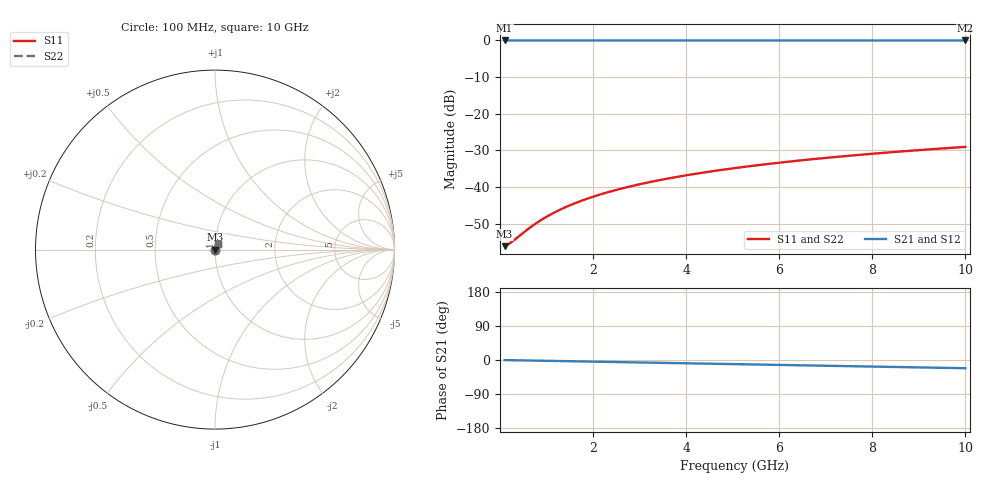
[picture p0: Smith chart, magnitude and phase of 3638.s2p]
# Hz S RI R 50.00
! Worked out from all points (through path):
!   100 points, 100 MHz to 10 GHz, reference 50 ohm
!   highest |S21| = -0.01 dB at 100 MHz (marker M1); lowest = 0.0 dB at 10 GHz (marker M2)
!   group delay of S21, straight-line fit = 6.03 ps
!   lowest |S11| = -56.1 dB at 100 MHz (marker M3), VSWR 1.00, Z = 50.2 + j0.0358 ohm
!   |S11| at or under -10 dB: start of sweep to end of sweep
!   |S22| runs from -56.1 to -29.0 dB; largest |S21 - S12| = 0
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1e8  0.00153 0.000357  0.9985 -0.00376  0.9985 -0.00376  0.00153 0.000357
2e8  0.00154 0.000714  0.9984 -0.00752  0.9984 -0.00752  0.00154 0.000714
3e8  0.00156 0.00107  0.9984 -0.0113  0.9984 -0.0113  0.00156 0.00107
5e8  0.00159 0.00178  0.9983 -0.0188  0.9983 -0.0188  0.00159 0.00178
7e8  0.00162 0.0025  0.9981 -0.0263  0.9981 -0.0263  0.00162 0.0025
8e8  0.00165 0.00285  0.998 -0.0301  0.998 -0.0301  0.00165 0.00285
1e9  0.0017 0.00356  0.9977 -0.0376  0.9977 -0.0376  0.0017 0.00356
1.2e9  0.00176 0.00427  0.9974 -0.0451  0.9974 -0.0451  0.00176 0.00427
1.4e9  0.00183 0.00498  0.997 -0.0526  0.997 -0.0526  0.00183 0.00498
1.6e9  0.00192 0.00569  0.9965 -0.0602  0.9965 -0.0602  0.00192 0.00569
1.8e9  0.00201 0.0064  0.9961 -0.0677  0.9961 -0.0677  0.00201 0.0064
2.1e9  0.00217 0.00745  0.9952 -0.0789  0.9952 -0.0789  0.00217 0.00745
2.5e9  0.00242 0.00885  0.9939 -0.094  0.9939 -0.094  0.00242 0.00885
2.9e9  0.00271 0.0102  0.9923 -0.109  0.9923 -0.109  0.00271 0.0102
3.4e9  0.00313 0.012  0.99 -0.1277  0.99 -0.1277  0.00313 0.012
4.2e9  0.00394 0.0147  0.9857 -0.1576  0.9857 -0.1576  0.00394 0.0147
5.1e9  0.00505 0.0177  0.9796 -0.191  0.9796 -0.191  0.00505 0.0177
5.9e9  0.00621 0.0203  0.9733 -0.2206  0.9733 -0.2206  0.00621 0.0203
6.7e9  0.00752 0.0228  0.9661 -0.2501  0.9661 -0.2501  0.00752 0.0228
7.5e9  0.00899 0.0252  0.9579 -0.2793  0.9579 -0.2793  0.00899 0.0252
8.4e9  0.0108 0.0279  0.9477 -0.3119  0.9477 -0.3119  0.0108 0.0279
1e10  0.0145 0.0323  0.9267 -0.3691  0.9267 -0.3691  0.0145 0.0323
